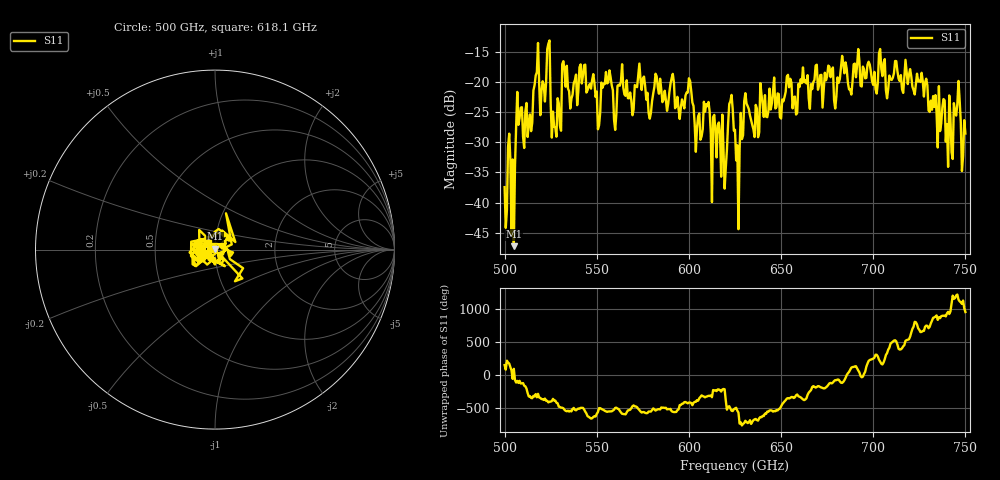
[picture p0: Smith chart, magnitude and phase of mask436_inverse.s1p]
!Created with skrf (http://scikit-rf.org).
# GHz S MA R 50.0
!freq magS11 angS11
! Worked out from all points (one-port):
!   401 points, 500 GHz to 750 GHz, reference 50 ohm
!   lowest |S11| = -47.2 dB at 505 GHz (marker M1), VSWR 1.01, Z = 50 + j0.433 ohm
!   |S11| at or under -10 dB: start of sweep to end of sweep
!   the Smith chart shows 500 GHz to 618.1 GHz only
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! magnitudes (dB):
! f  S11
! 500 GHz  -37.4
! 503.1 GHz  -32.9
! 505 GHz  -47.2
! 507.5 GHz  -27.1
! 513.8 GHz  -25.4
! 516.9 GHz  -18.9
! 520.6 GHz  -19.9
! 523.8 GHz  -13.6
! 526.9 GHz  -27.4
! 531.2 GHz  -17.0
! 542.5 GHz  -18.9
! 550.6 GHz  -27.8
! 562.5 GHz  -20.6
! 593.8 GHz  -22.4
! 605 GHz  -25.7
! 609.4 GHz  -23.7
! 618.8 GHz  -31.1
! 622.5 GHz  -23.2
! 625 GHz  -27.9
! 626.2 GHz  -30.5
! 631.2 GHz  -23.5
! 634.4 GHz  -27.1
! 656.2 GHz  -24.4
! 687.5 GHz  -21.2
! 718.8 GHz  -20.3
! 741.9 GHz  -26.1
! 745.6 GHz  -23.7
! 750 GHz  -28.5
